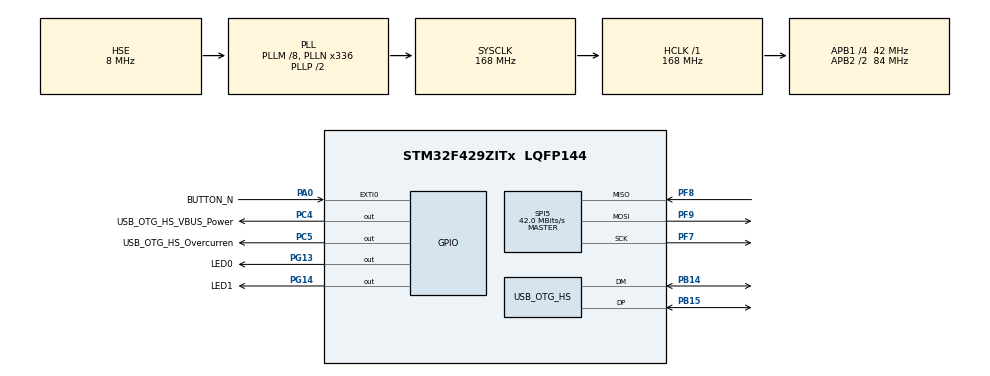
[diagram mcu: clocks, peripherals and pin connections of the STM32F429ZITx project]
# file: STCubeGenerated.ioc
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Mcu.Family=STM32F4
Mcu.Name=STM32F429ZITx
Mcu.Package=LQFP144
NVIC.EXTI0_IRQn=true\:0\:0\:false\:false\:true\:true\:true\:true
NVIC.OTG_HS_EP1_IN_IRQn=true\:0\:0\:false\:false\:false\:true\:true\:true
NVIC.OTG_HS_EP1_OUT_IRQn=true\:0\:0\:false\:false\:false\:true\:true\:true
NVIC.OTG_HS_IRQn=true\:0\:0\:false\:false\:false\:true\:true\:true
NVIC.PriorityGroup=NVIC_PRIORITYGROUP_4
PA0/WKUP.GPIO_Label=BUTTON_N
PA0/WKUP.Signal=GPXTI0
PB14.Mode=Host_FS
PB14.Signal=USB_OTG_HS_DM
PB15.Mode=Host_FS
PB15.Signal=USB_OTG_HS_DP
PC4.GPIO_Label=USB_OTG_HS_VBUS_Power
PC4.Signal=GPIO_Output
PC5.GPIO_Label=USB_OTG_HS_Overcurren
PC5.Signal=GPIO_Output
PF7.Mode=Full_Duplex_Master
PF7.Signal=SPI5_SCK
PF8.Mode=Full_Duplex_Master
PF8.Signal=SPI5_MISO
PF9.Mode=Full_Duplex_Master
PF9.Signal=SPI5_MOSI
PG13.GPIO_Label=LED0
PG13.Signal=GPIO_Output
PG14.GPIO_Label=LED1
PG14.Signal=GPIO_Output
PH0/OSC_IN.Mode=HSE-External-Oscillator
PH0/OSC_IN.Signal=RCC_OSC_IN
PH1/OSC_OUT.Mode=HSE-External-Oscillator
PH1/OSC_OUT.Signal=RCC_OSC_OUT
ProjectManager.HeapSize=0x200
ProjectManager.StackSize=0x400
ProjectManager.TargetToolchain=MDK-ARM V5
RCC.48MHZClocksFreq_Value=48000000
RCC.AHBFreq_Value=168000000
RCC.APB1CLKDivider=RCC_HCLK_DIV4
RCC.APB1Freq_Value=42000000
RCC.APB1TimFreq_Value=84000000
RCC.APB2CLKDivider=RCC_HCLK_DIV2
RCC.APB2Freq_Value=84000000
RCC.APB2TimFreq_Value=168000000
RCC.CortexFreq_Value=168000000
RCC.HCLKFreq_Value=168000000
RCC.HSE_VALUE=8000000
RCC.HSI_VALUE=16000000
RCC.LSE_VALUE=32768
RCC.PLLM=8
RCC.PLLN=336
RCC.PLLQ=7
RCC.SYSCLKFreq_VALUE=168000000
RCC.SYSCLKSource=RCC_SYSCLKSOURCE_PLLCLK
RCC.VCOOutputFreq_Value=336000000
SPI5.BaudRatePrescaler=SPI_BAUDRATEPRESCALER_2
SPI5.CalculateBaudRate=42.0 MBits/s
SPI5.Direction=SPI_DIRECTION_2LINES
SPI5.Mode=SPI_MODE_MASTER
SPI5.VirtualType=VM_MASTER
USB_OTG_HS.VirtualMode-Host_FS=Host_FS
board=custom

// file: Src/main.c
/* USER CODE BEGIN Header */
/**
  ******************************************************************************
  * @file           : main.c
  * @brief          : Main program body
  ******************************************************************************
  * @attention
  *
  * Copyright (c) 2025 STMicroelectronics.
  * All rights reserved.
  *
  * This software is licensed under terms that can be found in the LICENSE file
  * in the root directory of this software component.
  * If no LICENSE file comes with this software, it is provided AS-IS.
  *
  ******************************************************************************
  */
/* USER CODE END Header */
#include "main.h"

/* USER CODE BEGIN Includes */
#include "cmsis_os2.h"
/* USER CODE END Includes */

SPI_HandleTypeDef hspi5;

HCD_HandleTypeDef hhcd_USB_OTG_HS;

void SystemClock_Config(void);
static void MX_GPIO_Init(void);
static void MX_SPI5_Init(void);
static void MX_USB_OTG_HS_HCD_Init(void);

/* USER CODE BEGIN 0 */

/* Override default HAL_GetTick function */
uint32_t HAL_GetTick (void) {
  static uint32_t ticks = 0U;
  uint32_t i;

  if (osKernelGetState () == osKernelRunning) {
    return ((uint32_t)osKernelGetTickCount ());
  }

  /* If Kernel is not running wait approximately 1 ms then increment and return auxiliary tick counter value */
  for (i = (SystemCoreClock >> 14U); i > 0U; i--) {
    __NOP(); __NOP(); __NOP(); __NOP(); __NOP(); __NOP(); __NOP(); __NOP(); __NOP(); __NOP(); __NOP(); __NOP();
  }

  return ++ticks;
}
/* Override default HAL_InitTick function */
HAL_StatusTypeDef HAL_InitTick(uint32_t TickPriority) {
  UNUSED(TickPriority);

  return HAL_OK;
}
int Init_Timers (void);
int Init_Thread (void);
void app_main(void *argument)
{
	(void) argument;
	Init_Timers ();
	Init_Thread ();
	while(1)
	{
		//HAL_GPIO_TogglePin(LED1_GPIO_Port,LED1_Pin);
		osDelay(1000);
	}
}

/* USER CODE END 0 */

int main(void)
{

  /* MCU Configuration--------------------------------------------------------*/

  /* Reset of all peripherals, Initializes the Flash interface and the Systick. */
  HAL_Init();

  /* Configure the system clock */
  SystemClock_Config();

  /* Initialize all configured peripherals */
  MX_GPIO_Init();
  MX_SPI5_Init();
  MX_USB_OTG_HS_HCD_Init();
  /* USER CODE BEGIN 2 */
	osKernelInitialize();                 // Initialize CMSIS-RTOS
  osThreadNew(app_main, NULL, NULL);    // Create application main thread
  osKernelStart();                      // Start thread execution

  /* USER CODE END 2 */

  /* Infinite loop */
  while (1)
  {

  }
}

void SystemClock_Config(void)
{
  RCC_OscInitTypeDef RCC_OscInitStruct = {0};
  RCC_ClkInitTypeDef RCC_ClkInitStruct = {0};

  /** Configure the main internal regulator output voltage
  */
  __HAL_RCC_PWR_CLK_ENABLE();
  __HAL_PWR_VOLTAGESCALING_CONFIG(PWR_REGULATOR_VOLTAGE_SCALE1);

  /** Initializes the RCC Oscillators according to the specified parameters
  * in the RCC_OscInitTypeDef structure.
  */
  RCC_OscInitStruct.OscillatorType = RCC_OSCILLATORTYPE_HSE;
  RCC_OscInitStruct.HSEState = RCC_HSE_ON;
  RCC_OscInitStruct.PLL.PLLState = RCC_PLL_ON;
  RCC_OscInitStruct.PLL.PLLSource = RCC_PLLSOURCE_HSE;
  RCC_OscInitStruct.PLL.PLLM = 8;
  RCC_OscInitStruct.PLL.PLLN = 336;
  RCC_OscInitStruct.PLL.PLLP = RCC_PLLP_DIV2;
  RCC_OscInitStruct.PLL.PLLQ = 7;
  if (HAL_RCC_OscConfig(&RCC_OscInitStruct) != HAL_OK)
  {
    Error_Handler();
  }

  /** Initializes the CPU, AHB and APB buses clocks
  */
  RCC_ClkInitStruct.ClockType = RCC_CLOCKTYPE_HCLK|RCC_CLOCKTYPE_SYSCLK
                              |RCC_CLOCKTYPE_PCLK1|RCC_CLOCKTYPE_PCLK2;
  RCC_ClkInitStruct.SYSCLKSource = RCC_SYSCLKSOURCE_PLLCLK;
  RCC_ClkInitStruct.AHBCLKDivider = RCC_SYSCLK_DIV1;
  RCC_ClkInitStruct.APB1CLKDivider = RCC_HCLK_DIV4;
  RCC_ClkInitStruct.APB2CLKDivider = RCC_HCLK_DIV2;

  if (HAL_RCC_ClockConfig(&RCC_ClkInitStruct, FLASH_LATENCY_5) != HAL_OK)
  {
    Error_Handler();
  }
}

static void MX_SPI5_Init(void)
{

  /* SPI5 parameter configuration*/
  hspi5.Instance = SPI5;
  hspi5.Init.Mode = SPI_MODE_MASTER;
  hspi5.Init.Direction = SPI_DIRECTION_2LINES;
  hspi5.Init.DataSize = SPI_DATASIZE_8BIT;
  hspi5.Init.CLKPolarity = SPI_POLARITY_LOW;
  hspi5.Init.CLKPhase = SPI_PHASE_1EDGE;
  hspi5.Init.NSS = SPI_NSS_SOFT;
  hspi5.Init.BaudRatePrescaler = SPI_BAUDRATEPRESCALER_2;
  hspi5.Init.FirstBit = SPI_FIRSTBIT_MSB;
  hspi5.Init.TIMode = SPI_TIMODE_DISABLE;
  hspi5.Init.CRCCalculation = SPI_CRCCALCULATION_DISABLE;
  hspi5.Init.CRCPolynomial = 10;
  if (HAL_SPI_Init(&hspi5) != HAL_OK)
  {
    Error_Handler();
  }

}

static void MX_USB_OTG_HS_HCD_Init(void)
{

  hhcd_USB_OTG_HS.Instance = USB_OTG_HS;
  hhcd_USB_OTG_HS.Init.Host_channels = 12;
  hhcd_USB_OTG_HS.Init.speed = HCD_SPEED_FULL;
  hhcd_USB_OTG_HS.Init.dma_enable = DISABLE;
  hhcd_USB_OTG_HS.Init.phy_itface = USB_OTG_EMBEDDED_PHY;
  hhcd_USB_OTG_HS.Init.Sof_enable = DISABLE;
  hhcd_USB_OTG_HS.Init.low_power_enable = DISABLE;
  hhcd_USB_OTG_HS.Init.vbus_sensing_enable = DISABLE;
  hhcd_USB_OTG_HS.Init.use_external_vbus = DISABLE;
  if (HAL_HCD_Init(&hhcd_USB_OTG_HS) != HAL_OK)
  {
    Error_Handler();
  }

}

static void MX_GPIO_Init(void)
{
  GPIO_InitTypeDef GPIO_InitStruct = {0};

  /* GPIO Ports Clock Enable */
  __HAL_RCC_GPIOF_CLK_ENABLE();
  __HAL_RCC_GPIOH_CLK_ENABLE();
  __HAL_RCC_GPIOA_CLK_ENABLE();
  __HAL_RCC_GPIOC_CLK_ENABLE();
  __HAL_RCC_GPIOB_CLK_ENABLE();
  __HAL_RCC_GPIOG_CLK_ENABLE();

  /*Configure GPIO pin Output Level */
  HAL_GPIO_WritePin(GPIOC, USB_OTG_HS_VBUS_Power_Pin|USB_OTG_HS_Overcurren_Pin, GPIO_PIN_RESET);

  /*Configure GPIO pin Output Level */
  HAL_GPIO_WritePin(GPIOG, LED0_Pin|LED1_Pin, GPIO_PIN_RESET);

  /*Configure GPIO pin : BUTTON_N_Pin */
  GPIO_InitStruct.Pin = BUTTON_N_Pin;
  GPIO_InitStruct.Mode = GPIO_MODE_IT_RISING;
  GPIO_InitStruct.Pull = GPIO_NOPULL;
  HAL_GPIO_Init(BUTTON_N_GPIO_Port, &GPIO_InitStruct);

  /*Configure GPIO pins : USB_OTG_HS_VBUS_Power_Pin USB_OTG_HS_Overcurren_Pin */
  GPIO_InitStruct.Pin = USB_OTG_HS_VBUS_Power_Pin|USB_OTG_HS_Overcurren_Pin;
  GPIO_InitStruct.Mode = GPIO_MODE_OUTPUT_PP;
  GPIO_InitStruct.Pull = GPIO_NOPULL;
  GPIO_InitStruct.Speed = GPIO_SPEED_FREQ_LOW;
  HAL_GPIO_Init(GPIOC, &GPIO_InitStruct);

  /*Configure GPIO pins : LED0_Pin LED1_Pin */
  GPIO_InitStruct.Pin = LED0_Pin|LED1_Pin;
  GPIO_InitStruct.Mode = GPIO_MODE_OUTPUT_PP;
  GPIO_InitStruct.Pull = GPIO_NOPULL;
  GPIO_InitStruct.Speed = GPIO_SPEED_FREQ_LOW;
  HAL_GPIO_Init(GPIOG, &GPIO_InitStruct);

  /* EXTI interrupt init*/
  HAL_NVIC_SetPriority(EXTI0_IRQn, 0, 0);
  HAL_NVIC_EnableIRQ(EXTI0_IRQn);

}

/* USER CODE BEGIN 4 */

void HAL_GPIO_EXTI_Callback(uint16_t GPIO_Pin)
{
	if(GPIO_Pin==BUTTON_N_Pin)
		HAL_GPIO_TogglePin(LED0_GPIO_Port,LED0_Pin);
}

/* USER CODE END 4 */

void Error_Handler(void)
{
  __disable_irq();
  while (1)
  {
  }
}
